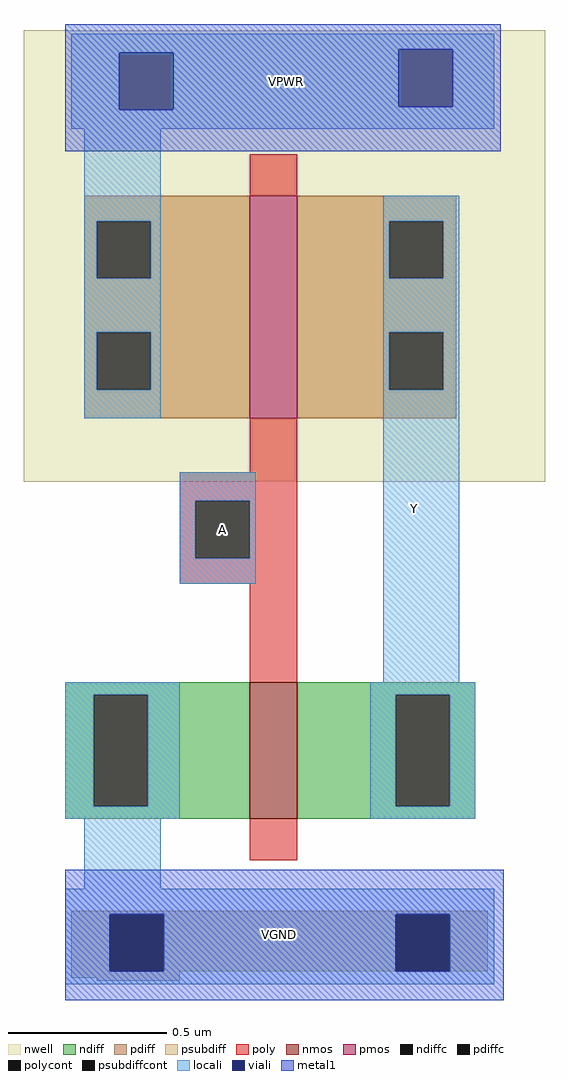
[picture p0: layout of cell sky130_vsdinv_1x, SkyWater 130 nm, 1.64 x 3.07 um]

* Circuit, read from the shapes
.subckt sky130_vsdinv_1x A Y VGND VPWR VPB
XM1 Y A VGND VGND sky130_fd_pr__nfet_01v8 w=0.43 l=0.15
XM2 Y A VPWR VPB sky130_fd_pr__pfet_01v8 w=0.7 l=0.15
.ends

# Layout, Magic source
magic
tech sky130A
<< nwell >>
rect -13 146 151 288
<< nmos >>
rect 58 40 73 83
<< pmos >>
rect 58 166 73 236
<< ndiff >>
rect 0 79 58 83
rect 0 44 9 79
rect 26 44 58 79
rect 0 40 58 44
rect 73 79 129 83
rect 73 44 104 79
rect 121 44 129 79
rect 73 40 129 44
<< pdiff >>
rect 6 228 58 236
rect 6 210 10 228
rect 27 210 58 228
rect 6 193 58 210
rect 6 175 10 193
rect 27 175 58 193
rect 6 166 58 175
rect 73 228 123 236
rect 73 210 102 228
rect 119 210 123 228
rect 73 193 123 210
rect 73 175 102 193
rect 119 175 123 193
rect 73 166 123 175
<< ndiffc >>
rect 9 44 26 79
rect 104 44 121 79
<< pdiffc >>
rect 10 210 27 228
rect 10 175 27 193
rect 102 210 119 228
rect 102 175 119 193
<< psubdiff >>
rect 2 10 133 11
rect 2 -8 14 10
rect 31 -8 104 10
rect 121 -8 133 10
rect 2 -10 36 -8
rect 10 -11 36 -10
<< psubdiffcont >>
rect 14 -8 31 10
rect 104 -8 121 10
<< poly >>
rect 58 236 73 249
rect 58 149 73 166
rect 36 140 73 149
rect 36 122 41 140
rect 58 122 73 140
rect 36 114 73 122
rect 58 83 73 114
rect 58 27 73 40
<< polycont >>
rect 41 122 58 140
<< locali >>
rect 2 282 135 287
rect 2 281 105 282
rect 2 263 17 281
rect 34 264 105 281
rect 122 264 135 282
rect 34 263 135 264
rect 2 257 135 263
rect 6 228 30 257
rect 6 210 10 228
rect 27 210 30 228
rect 6 193 30 210
rect 6 175 10 193
rect 27 175 30 193
rect 6 166 30 175
rect 100 228 124 236
rect 100 210 102 228
rect 119 210 124 228
rect 100 193 124 210
rect 100 175 102 193
rect 119 175 124 193
rect 36 140 60 149
rect 36 122 41 140
rect 58 122 60 140
rect 36 114 60 122
rect 100 83 124 175
rect 0 79 36 83
rect 0 44 9 79
rect 26 44 36 79
rect 0 40 36 44
rect 96 79 129 83
rect 96 44 104 79
rect 121 44 129 79
rect 96 40 129 44
rect 6 18 30 40
rect 0 10 135 18
rect 0 -8 14 10
rect 31 -8 104 10
rect 121 -8 135 10
rect 0 -12 135 -8
<< viali >>
rect 17 263 34 281
rect 105 264 122 282
rect 14 -8 31 10
rect 104 -8 121 10
<< metal1 >>
rect 0 282 137 290
rect 0 281 105 282
rect 0 263 17 281
rect 34 264 105 281
rect 122 264 137 282
rect 34 263 137 264
rect 0 250 137 263
rect 0 10 138 24
rect 0 -8 14 10
rect 31 -8 104 10
rect 121 -8 138 10
rect 0 -17 138 -8
<< labels >>
flabel locali s 41 122 58 140 0 FreeSans 120 0 0 0 A
port 1 nsew signal input
flabel locali s 100 70 120 205 0 FreeSans 120 0 0 0 Y
port 2 nsew signal output
flabel metal1 31 -17 104 24 0 FreeSans 120 0 0 0 VGND
port 3 nsew ground bidirectional
flabel metal1 34 257 105 287 0 FreeSans 120 0 0 0 VPWR
port 4 nsew power bidirectional
flabel nwell 34 257 105 287 0 FreeSans 120 0 0 0 VPB
port 5 nsew power bidirectional
<< properties >>
string LEFclass CORE
string LEFsite unithd
string FIXED_BBOX 0 0 138 272
string LEFsymmetry X Y R90
<< end >>
